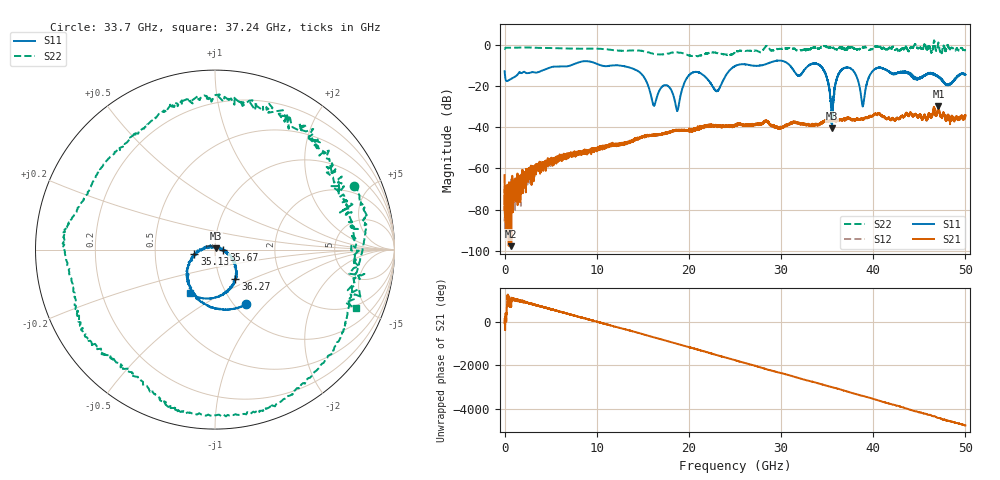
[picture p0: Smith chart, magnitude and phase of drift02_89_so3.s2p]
!Created with skrf (http://scikit-rf.org).
# Hz S RI R 50.0
!freq ReS11 ImS11 ReS21 ImS21 ReS12 ImS12 ReS22 ImS22
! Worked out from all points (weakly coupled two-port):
!   10001 points, 300 kHz to 50 GHz, reference 50 ohm
!   highest |S21| = -29.88 dB at 47.08 GHz (marker M1); lowest = -97.7 dB at 725.3 MHz (marker M2)
!   lowest |S11| = -40.4 dB at 35.54 GHz (marker M3), VSWR 1.02, Z = 50.5 + j0.784 ohm
!   |S11| at or under -10 dB: start of sweep to 7.178 GHz; 12.39 GHz to 25.17 GHz (12.79 GHz wide, 68.1 % of centre); 34.22 GHz to end of sweep (the widest 3 of 14)
!   |S22| runs from -5.7 to 2.1 dB; largest |S21 - S12| = 0.0034
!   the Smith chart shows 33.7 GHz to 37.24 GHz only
!   S11 on the Smith chart (normalised r, x): 33.7 GHz: 1.13, -0.79; 35.13 GHz: 0.79, -0.04; 35.67 GHz: 1.10, -0.01; 36.27 GHz: 1.18, -0.41; 37.24 GHz: 0.68, -0.36
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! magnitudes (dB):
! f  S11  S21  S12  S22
! 300 kHz  -12.9  -63.2  -63.4  -2.1
! 725.3 MHz  -16.5  -97.7  -74.8  -1.5
! 8.335 GHz  -8.2  -52.1  -53.4  -1.9
! 14.05 GHz  -11.8  -46.5  -46.0  -2.8
! 16.67 GHz  -23.5  -43.7  -43.8  -4.7
! 17.72 GHz  -20.0  -42.5  -42.7  -4.3
! 18.74 GHz  -32.1  -41.5  -41.5  -3.7
! 20.25 GHz  -13.9  -41.7  -41.2  -5.4
! 23.04 GHz  -22.4  -39.2  -39.4  -4.1
! 25 GHz  -10.4  -38.9  -39.5  -3.9
! 33.34 GHz  -9.2  -38.7  -38.7  -1.6
! 33.7 GHz  -9.1  -39.0  -38.4  -1.4
! 35.13 GHz  -18.6  -37.2  -37.2  -1.7
! 35.54 GHz  -40.4  -36.9  -36.8  -1.7
! 35.67 GHz  -26.6  -36.9  -36.8  -1.5
! 36.27 GHz  -14.0  -36.2  -36.4  -1.5
! 37.24 GHz  -11.1  -35.6  -35.5  -1.4
! 38.86 GHz  -29.8  -35.9  -36.0  -1.3
! 39.96 GHz  -12.6  -34.4  -34.3  -1.9
! 41.67 GHz  -12.9  -35.3  -35.6  -1.9
! 47.08 GHz  -15.5  -29.9  -30.3  1.0
! 50 GHz  -14.5  -34.2  -34.6  -2.7
